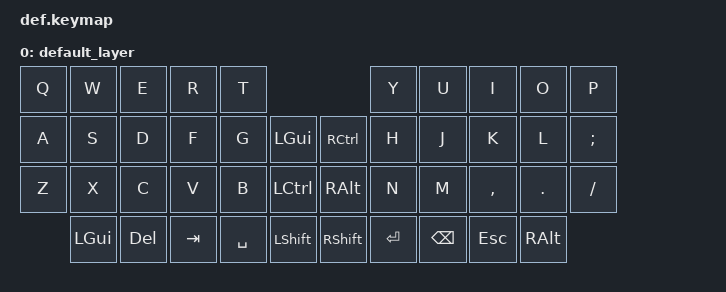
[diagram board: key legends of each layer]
#include <behaviors.dtsi>
#include <dt-bindings/zmk/keys.h>
#include <dt-bindings/zmk/outputs.h>

/ {

 combos {
        compatible = "zmk,combos";

        reset_right {
            bindings = <&bootloader>;
            key-positions = <16 28 43>;
            // layers = <0 2>;
        };

        reset_left {
            bindings = <&bootloader>;
            key-positions = <15 27 34>;
        };
    };

keymap {
    compatible = "zmk,keymap";

    default_layer {
        bindings = <
         &kp Q    &kp W     &kp E     &kp R     &kp T                             &kp Y     &kp U     &kp I     &kp O     &kp P    
         &kp A    &kp S     &kp D     &kp F     &kp G      &kp LGUI    &kp RCTRL  &kp H     &kp J     &kp K     &kp L     &kp SEMI 
         &kp Z    &kp X     &kp C     &kp V     &kp B 	   &kp LCTRL   &kp RALT   &kp N     &kp M     &kp COMMA &kp DOT   &kp FSLH 
                  &kp LGUI  &kp DEL   &kp TAB   &kp SPACE  &kp LSHIFT  &kp RSHIFT &kp RET   &kp BSPC  &kp ESC   &kp RALT
        >;
    };
};

};
